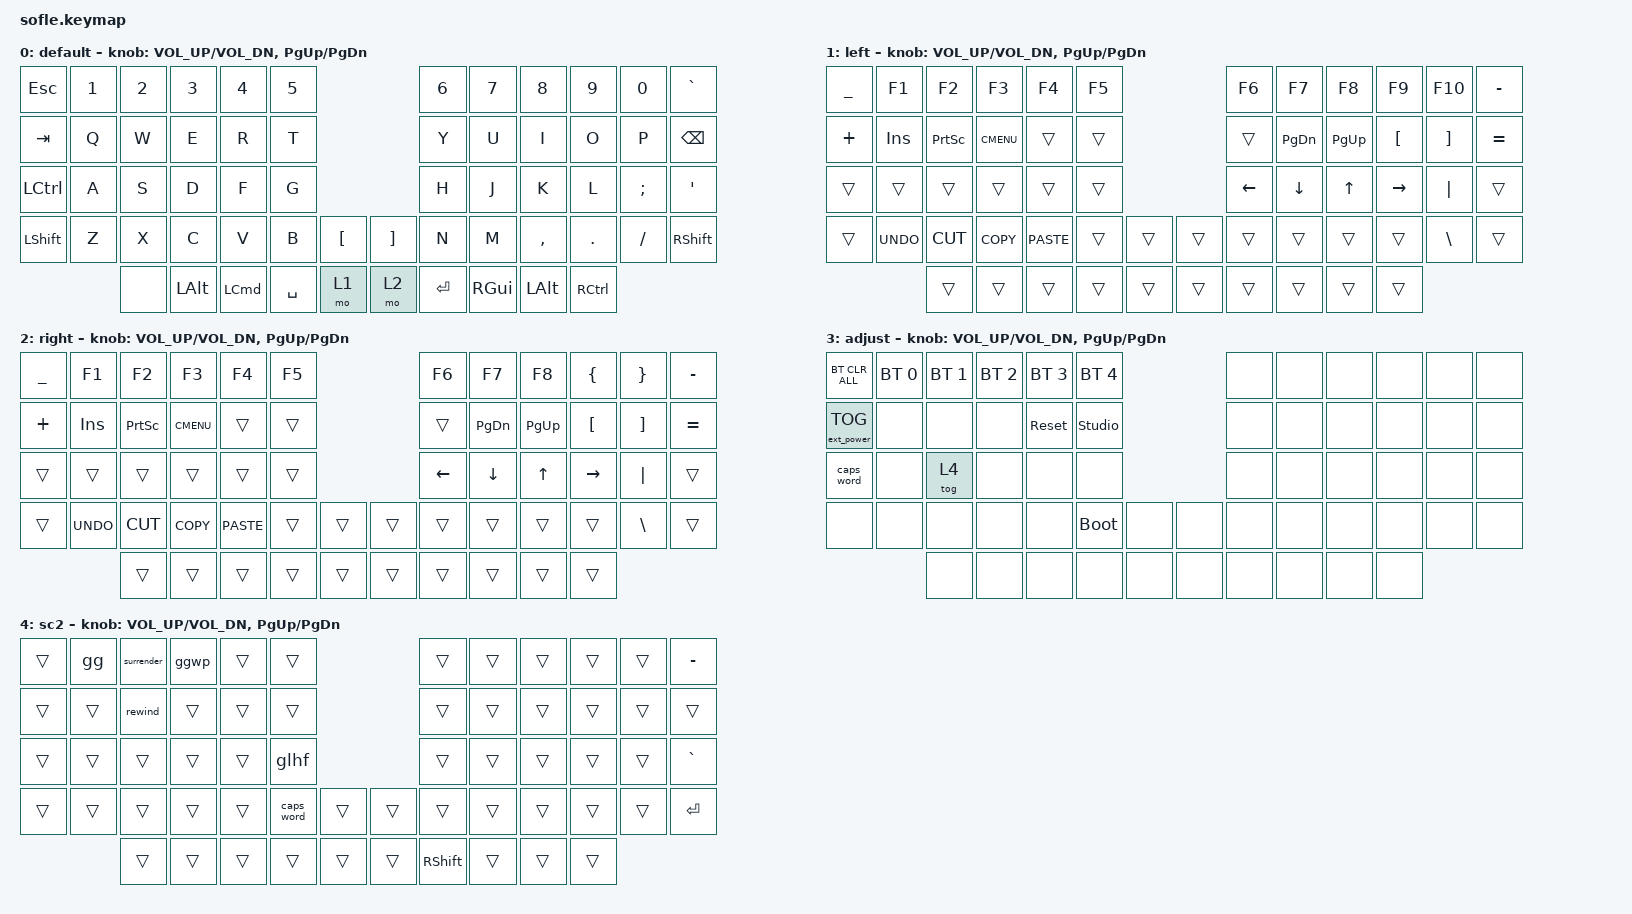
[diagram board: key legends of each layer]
/*
 * Copyright (c) 2020 The ZMK Contributors
 *
 * SPDX-License-Identifier: MIT
 */

#include <behaviors.dtsi>
#include <dt-bindings/zmk/bt.h>
#include <dt-bindings/zmk/ext_power.h>
#include <dt-bindings/zmk/keys.h>

#define BASE 0
#define LOWER 1
#define RAISE 2
#define ADJUST 3
#define extra_layer 4

/ {
    // Activate ADJUST layer by pressing raise and lower

    conditional_layers {
        compatible = "zmk,conditional-layers";

        adjust_layer {
            if-layers = <1 2>;
            then-layer = <3>;
        };
    };

    combos { compatible = "zmk,combos"; };

    behaviors {
        caps: caps {
            compatible = "zmk,behavior-caps-word";
            label = "CAPS";
            #binding-cells = <0>;
            continue-list = <POUND MINUS BACKSPACE UNDERSCORE>;
        };
    };

    macros {
        glhf: glhf {
            compatible = "zmk,behavior-macro";
            #binding-cells = <0>;
            bindings = <&kp TAB &kp G &kp L &kp H &kp F &kp ENTER>;
            label = "GLHF";
        };

        ggwp: ggwp {
            compatible = "zmk,behavior-macro";
            #binding-cells = <0>;
            bindings = <&kp TAB &kp G &kp G &kp W &kp P &kp ENTER>;
            label = "GGWP";
        };

        gg: gg {
            compatible = "zmk,behavior-macro";
            #binding-cells = <0>;
            bindings = <&kp TAB &kp G &kp G &kp ENTER>;
            label = "GG";
        };

        surrender: surrender {
            compatible = "zmk,behavior-macro";
            #binding-cells = <0>;
            bindings = <&kp F2 &kp N &kp Q>;
            label = "SURRENDER";
        };

        rewind: rewind {
            compatible = "zmk,behavior-macro";
            #binding-cells = <0>;
            bindings = <&kp F2 &kp W>;
            label = "REWIND";
        };
    };

    keymap {
        compatible = "zmk,keymap";

        default_layer {
            display-name = "default";

            // ------------------------------------------------------------------------------------------------------------
            // |   `   |  1  |  2  |  3   |  4   |  5   |                   |  6   |  7    |  8    |  9   |   0   |       |
            // |  ESC  |  Q  |  W  |  E   |  R   |  T   |                   |  Y   |  U    |  I    |  O   |   P   | BKSPC |
            // |  TAB  |  A  |  S  |  D   |  F   |  G   |                   |  H   |  J    |  K    |  L   |   ;   |   '   |
            // | SHIFT |  Z  |  X  |  C   |  V   |  B   |  MUTE  |  |       |  N   |  M    |  ,    |  .   |   /   | SHIFT |
            //               | GUI | ALT  | CTRL | LOWER|  ENTER |  | SPACE | RAISE| CTRL  | ALT   | GUI  |

            bindings = <
&kp ESC         &kp N1  &kp N2  &kp N3    &kp N4    &kp N5                           &kp N6   &kp N7    &kp N8     &kp N9     &kp N0    &kp GRAVE
&kp TAB         &kp Q   &kp W   &kp E     &kp R     &kp T                            &kp Y    &kp U     &kp I      &kp O      &kp P     &kp BSPC
&kp LCTRL       &kp A   &kp S   &kp D     &kp F     &kp G                            &kp H    &kp J     &kp K      &kp L      &kp SEMI  &kp SQT
&kp LEFT_SHIFT  &kp Z   &kp X   &kp C     &kp V     &kp B      &kp LBKT    &kp RBKT  &kp N    &kp M     &kp COMMA  &kp DOT    &kp FSLH  &kp RSHFT
                        &none   &kp LALT  &kp LCMD  &kp SPACE  &mo 1       &mo 2     &kp RET  &kp RGUI  &kp LALT   &kp RCTRL
            >;

            sensor-bindings = <&inc_dec_kp C_VOL_UP C_VOL_DN &inc_dec_kp PG_UP PG_DN>;
        };

        left {
            display-name = "left";
            bindings = <
&kp UNDER  &kp F1      &kp F2     &kp F3       &kp F4       &kp F5                    &kp F6    &kp F7         &kp F8       &kp F9            &kp F10            &kp MINUS
&kp PLUS   &kp INS     &kp PSCRN  &kp K_CMENU  &trans       &trans                    &trans    &kp PAGE_DOWN  &kp PAGE_UP  &kp LEFT_BRACKET  &kp RIGHT_BRACKET  &kp EQUAL
&trans     &trans      &trans     &trans       &trans       &trans                    &kp LEFT  &kp DOWN       &kp UP       &kp RIGHT         &kp PIPE           &trans
&trans     &kp K_UNDO  &kp K_CUT  &kp K_COPY   &kp K_PASTE  &trans  &trans    &trans  &trans    &trans         &trans       &trans            &kp BACKSLASH      &trans
                       &trans     &trans       &trans       &trans  &trans    &trans  &trans    &trans         &trans       &trans
            >;

            sensor-bindings =
                <&inc_dec_kp C_VOL_UP C_VOL_DN>,
                <&inc_dec_kp PG_UP PG_DN>;
        };

        right {
            display-name = "right";

            // ------------------------------------------------------------------------------------------------------------
            // | BTCLR | BT1  | BT2  |  BT3  |  BT4  |  BT5 |                |      |      |       |      |       |       |
            // |       | INS  | PSCR | GUI   |       |      |                | PGUP |      |   ^   |      |       |       |
            // |       | ALT  | CTRL | SHIFT |       | CAPS |                | PGDN |   <- |   v   |  ->  |  DEL  | BKSPC |
            // |       | UNDO | CUT  | COPY  | PASTE |      |      |  |      |      |      |       |      |       |       |
            //                |      |       |       |      |      |  |      |      |      |       |      |

            bindings = <
&kp UNDER  &kp F1      &kp F2     &kp F3       &kp F4       &kp F5                    &kp F6    &kp F7         &kp F8       &kp LEFT_BRACE    &kp RIGHT_BRACE    &kp MINUS
&kp PLUS   &kp INS     &kp PSCRN  &kp K_CMENU  &trans       &trans                    &trans    &kp PAGE_DOWN  &kp PAGE_UP  &kp LEFT_BRACKET  &kp RIGHT_BRACKET  &kp EQUAL
&trans     &trans      &trans     &trans       &trans       &trans                    &kp LEFT  &kp DOWN       &kp UP       &kp RIGHT         &kp PIPE           &trans
&trans     &kp K_UNDO  &kp K_CUT  &kp K_COPY   &kp K_PASTE  &trans  &trans    &trans  &trans    &trans         &trans       &trans            &kp BACKSLASH      &trans
                       &trans     &trans       &trans       &trans  &trans    &trans  &trans    &trans         &trans       &trans
            >;

            sensor-bindings = <&inc_dec_kp C_VOL_UP C_VOL_DN &inc_dec_kp PG_UP PG_DN>;
        };

        adjust_layer {
            // ----------------------------------------------------------------------------------------------------------------------------
            // | BTCLR  |  BT1    |  BT2    |   BT3   |   BT4   |   BT5   |                  |      |      |       |      |       |       |
            // | EXTPWR | RGB_HUD | RGB_HUI | RGB_SAD | RGB_SAI | RGB_EFF |                  |      |      |       |      |       |       |
            // |        | RGB_BRD | RGB_BRI |         |         |         |                  |      |      |       |      |       |       |
            // |        |         |         |         |         |         | RGB_TOG | |      |      |      |       |      |       |       |
            //                    |         |         |         |         |         | |      |      |      |       |      |

            display-name = "adjust";
            bindings = <
&bt BT_CLR_ALL     &bt BT_SEL 0  &bt BT_SEL 1  &bt BT_SEL 2  &bt BT_SEL 3  &bt BT_SEL 4                    &none  &none  &none  &none  &none  &none
&ext_power EP_TOG  &none         &none         &none         &sys_reset    &studio_unlock                  &none  &none  &none  &none  &none  &none
&caps_word         &none         &tog 4        &none         &none         &none                           &none  &none  &none  &none  &none  &none
&none              &none         &none         &none         &none         &bootloader     &none    &none  &none  &none  &none  &none  &none  &none
                                 &none         &none         &none         &none           &none    &none  &none  &none  &none  &none
            >;

            sensor-bindings = <&inc_dec_kp C_VOL_UP C_VOL_DN &inc_dec_kp PG_UP PG_DN>;
        };

        sc2 {
            // ----------------------------------------------------------------------------------------------------------------------------
            // | BTCLR  |  BT1    |  BT2    |   BT3   |   BT4   |   BT5   |                  |      |      |       |      |       |       |
            // | EXTPWR | RGB_HUD | RGB_HUI | RGB_SAD | RGB_SAI | RGB_EFF |                  |      |      |       |      |       |       |
            // |        | RGB_BRD | RGB_BRI |         |         |         |                  |      |      |       |      |       |       |
            // |        |         |         |         |         |         | RGB_TOG | |      |      |      |       |      |       |       |
            //                    |         |         |         |         |         | |      |      |      |       |      |

            display-name = "sc2";
            bindings = <
&trans  &gg     &surrender  &ggwp   &trans  &trans                        &trans      &trans  &trans  &trans  &trans  &kp MINUS
&trans  &trans  &rewind     &trans  &trans  &trans                        &trans      &trans  &trans  &trans  &trans  &trans
&trans  &trans  &trans      &trans  &trans  &glhf                         &trans      &trans  &trans  &trans  &trans  &kp GRAVE
&trans  &trans  &trans      &trans  &trans  &caps_word  &trans    &trans  &trans      &trans  &trans  &trans  &trans  &kp ENTER
                &trans      &trans  &trans  &trans      &trans    &trans  &kp RSHIFT  &trans  &trans  &trans
            >;

            sensor-bindings = <&inc_dec_kp C_VOL_UP C_VOL_DN &inc_dec_kp PG_UP PG_DN>;
        };
    };
};
